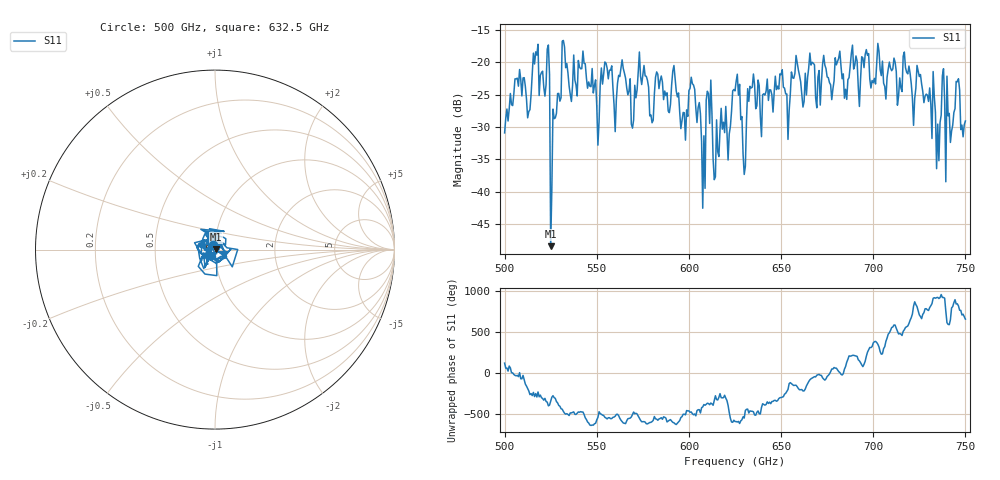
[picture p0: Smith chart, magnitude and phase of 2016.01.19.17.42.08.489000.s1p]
!Created with skrf (http://scikit-rf.org).
# GHz S RI R 50.0
!freq ReS11 ImS11
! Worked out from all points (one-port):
!   401 points, 500 GHz to 750 GHz, reference 50 ohm
!   lowest |S11| = -48.4 dB at 525 GHz (marker M1), VSWR 1.01, Z = 50.4 + j0.0816 ohm
!   |S11| at or under -10 dB: start of sweep to end of sweep
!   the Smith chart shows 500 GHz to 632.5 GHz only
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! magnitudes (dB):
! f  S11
! 500 GHz  -30.9
! 506.9 GHz  -22.5
! 513.1 GHz  -27.6
! 516.9 GHz  -18.4
! 523.1 GHz  -18.0
! 525 GHz  -48.4
! 526.2 GHz  -27.2
! 531.2 GHz  -16.7
! 550 GHz  -26.7
! 562.5 GHz  -22.2
! 570 GHz  -28.9
! 574.4 GHz  -23.4
! 580 GHz  -29.3
! 593.8 GHz  -25.3
! 596.9 GHz  -27.8
! 601.9 GHz  -23.3
! 607.5 GHz  -42.5
! 610.6 GHz  -24.9
! 614.4 GHz  -37.7
! 625 GHz  -24.4
! 630 GHz  -37.3
! 634.4 GHz  -23.8
! 656.2 GHz  -22.4
! 687.5 GHz  -20.6
! 718.8 GHz  -21.8
! 735 GHz  -29.6
! 745.6 GHz  -23.0
! 750 GHz  -29.1
